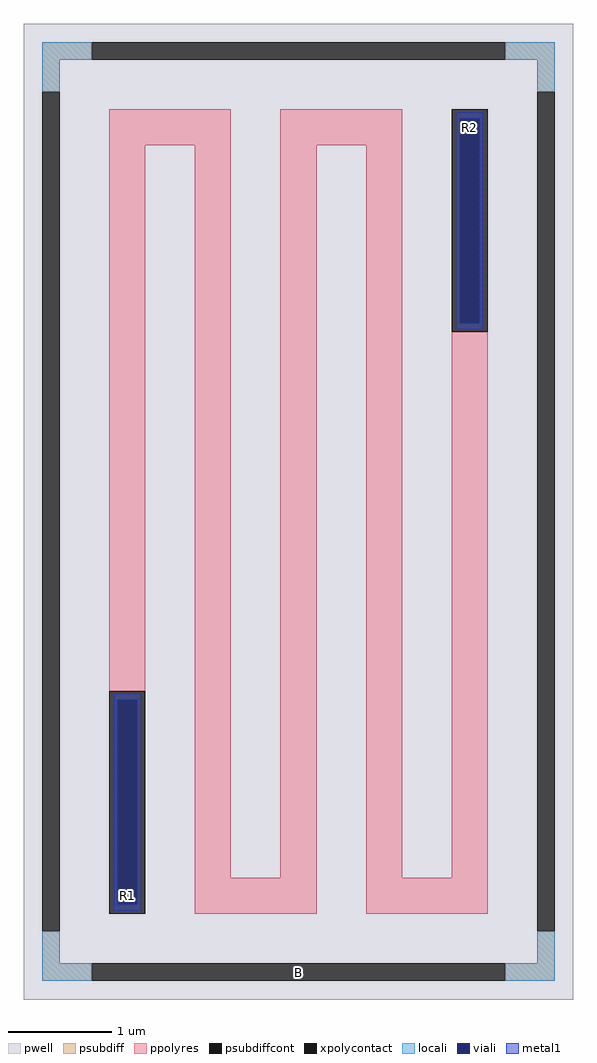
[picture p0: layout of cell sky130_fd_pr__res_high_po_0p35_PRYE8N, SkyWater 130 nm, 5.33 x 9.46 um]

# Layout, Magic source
magic
tech sky130A
magscale 1 2
<< pwell >>
rect -533 -946 533 946
<< psubdiff >>
rect -497 876 -401 910
rect 401 876 497 910
rect -497 814 -463 876
rect 463 814 497 876
rect -497 -876 -463 -814
rect 463 -876 497 -814
rect -497 -910 -401 -876
rect 401 -910 497 -876
<< psubdiffcont >>
rect -401 876 401 910
rect -497 -814 -463 814
rect 463 -814 497 814
rect -401 -910 401 -876
<< xpolycontact >>
rect -367 -780 -297 -348
rect 297 348 367 780
<< ppolyres >>
rect -367 710 -131 780
rect -367 -348 -297 710
rect -201 -710 -131 710
rect -35 710 201 780
rect -35 -710 35 710
rect -201 -780 35 -710
rect 131 -710 201 710
rect 297 -710 367 348
rect 131 -780 367 -710
<< locali >>
rect -497 876 -401 910
rect 401 876 497 910
rect -497 814 -463 876
rect 463 814 497 876
rect -497 -876 -463 -814
rect 463 -876 497 -814
rect -497 -910 -401 -876
rect 401 -910 497 -876
<< viali >>
rect 313 365 351 762
rect -351 -762 -313 -365
<< metal1 >>
rect 307 762 357 774
rect 307 365 313 762
rect 351 365 357 762
rect 307 353 357 365
rect -357 -365 -307 -353
rect -357 -762 -351 -365
rect -313 -762 -307 -365
rect -357 -774 -307 -762
<< labels >>
rlabel psubdiffcont 0 -893 0 -893 0 B
port 1 nsew
rlabel xpolycontact -332 -745 -332 -745 0 R1
port 2 nsew
rlabel xpolycontact 332 745 332 745 0 R2
port 3 nsew
<< properties >>
string FIXED_BBOX -480 -893 480 893
string gencell sky130_fd_pr__res_high_po_0p35
string library sky130
string parameters w 0.35 l 7.8 m 1 nx 5 wmin 0.350 lmin 0.50 class resistor rho 319.8 val 38.027k dummy 0 dw 0.0 term 194.82 sterm 0.0 caplen 0 guard 1 glc 1 grc 1 gtc 1 gbc 1 compatible {sky130_fd_pr__res_high_po_0p35  sky130_fd_pr__res_high_po_0p69 sky130_fd_pr__res_high_po_1p41  sky130_fd_pr__res_high_po_2p85 sky130_fd_pr__res_high_po_5p73} snake 1 full_metal 1 wmax 0.350 vias 1 n_guard 0 hv_guard 0 viagb 0 viagt 0 viagl 0 viagr 0 doports 1
<< end >>
